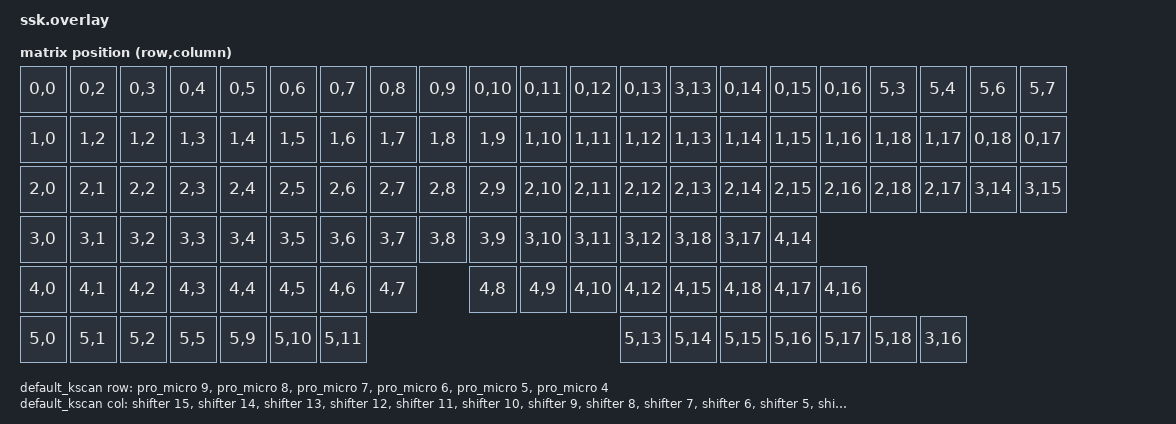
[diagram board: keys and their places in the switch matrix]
#include <dt-bindings/zmk/matrix_transform.h>

&pinctrl {
    spi0_default: spi0_default {
        group1 {
            psels = <NRF_PSEL(SPIM_SCK, 1, 13)>,
                <NRF_PSEL(SPIM_MOSI, 0, 10)>,
                <NRF_PSEL(SPIM_MISO, 1, 11)>;
        };
    };

    spi0_sleep: spi0_sleep {
        group1 {
            psels = <NRF_PSEL(SPIM_SCK, 1, 13)>,
                <NRF_PSEL(SPIM_MOSI, 0, 10)>,
                <NRF_PSEL(SPIM_MISO, 1, 11)>;
            low-power-enable;
        };
    };
};

&spi0 {
    status = "okay";
    cs-gpios = <&pro_micro 10 GPIO_ACTIVE_LOW>;
    pinctrl-0 = <&spi0_default>;
    pinctrl-1 = <&spi0_sleep>;
    pinctrl-names = "default", "sleep";
     
    shifter: 595@0 {
        compatible = "zmk,gpio-595";
        status = "okay";
        gpio-controller;
        spi-max-frequency = <200000>;
        reg = <0>;
        label = "4HC595";
        #gpio-cells = <2>;
        ngpios = <16>;
    };
};

/ {
    chosen {
        zmk,kscan = &default_kscan;     
        zmk,matrix_transform = &default_transform;               
    };

default_kscan: kscan {
        compatible = "zmk,kscan-gpio-matrix";
        label = "default_kscan";
        diode-direction = "col2row";

        row-gpios
            = <&pro_micro 9 (GPIO_ACTIVE_LOW | GPIO_PULL_UP)> //r0
            , <&pro_micro 8 (GPIO_ACTIVE_LOW | GPIO_PULL_UP)> //r1
            , <&pro_micro 7 (GPIO_ACTIVE_LOW | GPIO_PULL_UP)> //r2
            , <&pro_micro 6 (GPIO_ACTIVE_LOW | GPIO_PULL_UP)> //r3
            , <&pro_micro 5 (GPIO_ACTIVE_LOW | GPIO_PULL_UP)> //r4
            , <&pro_micro 4 (GPIO_ACTIVE_LOW | GPIO_PULL_UP)> //r5фaaa==hhgfxzzxc
            ;

        col-gpios
            = <&shifter 15 GPIO_ACTIVE_LOW> //c0
            , <&shifter 14 GPIO_ACTIVE_LOW> //c1
            , <&shifter 13 GPIO_ACTIVE_LOW> //c2
            , <&shifter 12 GPIO_ACTIVE_LOW> //c3
            , <&shifter 11 GPIO_ACTIVE_LOW> //c4
            , <&shifter 10 GPIO_ACTIVE_LOW> //c5
            , <&shifter 9 GPIO_ACTIVE_LOW> //c6
            , <&shifter 8 GPIO_ACTIVE_LOW> //c7
            , <&shifter 7 GPIO_ACTIVE_LOW> //c8
            , <&shifter 6 GPIO_ACTIVE_LOW> //c9
            , <&shifter 5 GPIO_ACTIVE_LOW> //c10
            , <&shifter 4 GPIO_ACTIVE_LOW> //c11
            , <&shifter 3 GPIO_ACTIVE_LOW> //c12
            , <&shifter 2 GPIO_ACTIVE_LOW> //c13
            , <&shifter 1 GPIO_ACTIVE_LOW> //c14
            , <&shifter 0 GPIO_ACTIVE_LOW> //c15
            , <&pro_micro 20 GPIO_ACTIVE_LOW> //c16               
            , <&pro_micro 18 GPIO_ACTIVE_LOW> //c17 // todo fix (swap)
            , <&pro_micro 19 GPIO_ACTIVE_LOW> //c18 // todo fix (swap)
            ;
    };

    default_transform: keymap_transform_0 {
        compatible = "zmk,matrix-transform";
        columns = <19>;
        rows = <6>;
//        map = <
//            RC(0,0)     /*none*/    RC(0,2)     RC(0,3)     RC(0,4)     RC(0,5)     RC(0,6)     RC(0,7)     RC(0,8)     RC(0,9)     RC(0,10)     RC(0,11)     RC(0,12)     RC(0,13)     RC(0,14)     RC(0,15)     RC(0,16)     RC(0,17)     RC(0,18)
//            RC(1,0)     RC(1,1)     RC(1,2)     RC(1,3)     RC(1,4)     RC(1,5)     RC(1,6)     RC(1,7)     RC(1,8)     RC(1,9)     RC(1,10)     RC(1,11)     RC(1,12)     RC(1,13)     RC(1,14)     RC(1,15)     RC(1,16)     RC(1,17)     RC(1,18)
//            RC(2,0)     RC(2,1)     RC(2,2)     RC(2,3)     RC(2,4)     RC(2,5)     RC(2,6)     RC(2,7)     RC(2,8)     RC(2,9)     RC(2,10)     RC(2,11)     RC(2,12)     RC(2,13)     RC(2,14)     RC(2,15)     RC(2,16)     RC(2,17)     RC(2,18)
//            RC(3,0)     RC(3,1)     RC(3,2)     RC(3,3)     RC(3,4)     RC(3,5)     RC(3,6)     RC(3,7)     RC(3,8)     RC(3,9)     RC(3,10)     RC(3,11)     RC(3,12)     /*none*/     RC(3,14)     RC(3,15)     RC(3,16)     RC(3,17)     RC(3,18)
//            RC(4,0)     RC(4,1)     RC(4,2)     RC(4,3)     RC(4,4)     RC(4,5)     RC(4,6)     RC(4,7)     RC(4,8)     RC(4,9)     RC(4,10)     /*none*/     RC(4,12)     /*none*/     RC(4,14)     RC(4,15)     RC(4,16)     RC(4,17)     RC(4,18)
//            RC(5,0)     RC(5,1)     RC(5,2)     /*none*/    /*none*/    RC(5,5)     /*none*/    /*none*/    /*none*/    RC(5,9)     RC(5,10)     RC(5,11)     /*none*/     RC(5,13)     RC(5,14)     RC(5,15)     RC(5,16)     RC(5,17)     RC(5,18)
//        >;
                

        /* JAMES DONKEY 619  */     
        map = <
       /*  |---------------|---------------|---------------|---------------|---------------|---------------|---------------|---------------|---------------|---------------|---------------|---------------|---------------|---------------|---------------|---------------|---------------|---------------|---------------|---------------|---------------|---------------|  */
       /*   &kp ESC                         &kp F1          &kp F2          &kp F3          &kp F4          &kp F5          &kp F6          &kp F7          &kp F8          &kp F9          &kp F10         &kp F11         &kp F12         &kp F13         &kp PSCRN       &kp SLCK        &kp PAUS        &kp C_AL_CALC   &uc LG(TAB)     &uc LG(LC(LEFT)) &uc LG(LC(RIGHT))*/
            RC(0,0)                         RC(0,2)         RC(0,3)         RC(0,4)         RC(0,5)         RC(0,6)         RC(0,7)         RC(0,8)         RC(0,9)         RC(0,10)        RC(0,11)        RC(0,12)        RC(0,13)        RC(3,13)        RC(0,14)        RC(0,15)        RC(0,16)        RC(5,3)         RC(5,4)         RC(5,6)         RC(5,7) 
       /*  |---------------|---------------|---------------|---------------|---------------|---------------|---------------|---------------|---------------|---------------|---------------|---------------|---------------|---------------|---------------|---------------|---------------|---------------|---------------|---------------|---------------|---------------|  */
       /*   &kp GRAVE       &kp N1          &kp N2          &kp N3          &kp N4          &kp N5          &kp N6          &kp N7          &kp N8          &kp N9          &kp N0          &kp MINUS       &kp EQUAL       &kp BSPC        &kp INS         &kp HOME        &kp PG_UP       &kp KP_NLCK     &kp KP_SLASH    &kp KP_ASTERISK &kp KP_MINUS                      */
            RC(1,0)         RC(1,2)         RC(1,2)         RC(1,3)         RC(1,4)         RC(1,5)         RC(1,6)         RC(1,7)         RC(1,8)         RC(1,9)         RC(1,10)        RC(1,11)        RC(1,12)        RC(1,13)        RC(1,14)        RC(1,15)        RC(1,16)        RC(1,18)        RC(1,17)        RC(0,18)        RC(0,17)
       /*  |---------------|---------------|---------------|---------------|---------------|---------------|---------------|---------------|---------------|---------------|---------------|---------------|---------------|---------------|---------------|---------------|---------------|---------------|---------------|---------------|---------------|---------------|  */
       /*   &kp TAB         &kp Q           &kp W           &kp E           &kp R           &kp T           &kp Y           &kp U           &kp I           &kp O           &kp P           &kp LBKT        &kp RBKT        &kp BSLH        &kp DEL         &kp END         &kp PG_DN       &kp KP_N7       &kp KP_N8       &kp KP_N9       &kp KP_PLUS                       */
            RC(2,0)         RC(2,1)         RC(2,2)         RC(2,3)         RC(2,4)         RC(2,5)         RC(2,6)         RC(2,7)         RC(2,8)         RC(2,9)         RC(2,10)        RC(2,11)        RC(2,12)        RC(2,13)        RC(2,14)        RC(2,15)        RC(2,16)        RC(2,18)        RC(2,17)        RC(3,14)        RC(3,15)                             
       /*  |---------------|---------------|---------------|---------------|---------------|---------------|---------------|---------------|---------------|---------------|---------------|---------------|---------------|---------------|---------------|---------------|---------------|---------------|---------------|---------------|---------------|---------------|  */
       /*   &kp CLCK        &kp A           &kp S           &kp D           &kp F           &kp G           &kp H           &kp J           &kp K           &kp L           &kp SEMI        &kp SQT         &kp RET                         &kp KP_N4       &kp KP_N5       &kp KP_N6                                                                                         */
            RC(3,0)         RC(3,1)         RC(3,2)         RC(3,3)         RC(3,4)         RC(3,5)         RC(3,6)         RC(3,7)         RC(3,8)         RC(3,9)         RC(3,10)        RC(3,11)        RC(3,12)                        RC(3,18)        RC(3,17)        RC(4,14)
       /*  |---------------|---------------|---------------|---------------|---------------|---------------|---------------|---------------|---------------|---------------|---------------|---------------|---------------|---------------|---------------|---------------|---------------|---------------|---------------|---------------|---------------|---------------|  */
       /*   &kp LSHFT       &kp Z           &kp X           &kp C           &kp V           &kp B           &kp N           &kp M           &kp COMMA       &kp DOT         &kp FSLH                        &kp RSHFT                       &kp UP          &kp KP_N1       &kp KP_N2       &kp KP_N3                                                                         */
            RC(4,0)         RC(4,1)         RC(4,2)         RC(4,3)         RC(4,4)         RC(4,5)         RC(4,6)         RC(4,7)         RC(4,8)         RC(4,9)         RC(4,10)                        RC(4,12)                        RC(4,15)        RC(4,18)        RC(4,17)        RC(4,16)        
       /*  |---------------|---------------|---------------|---------------|---------------|---------------|---------------|---------------|---------------|---------------|---------------|---------------|---------------|---------------|---------------|---------------|---------------|---------------|---------------|---------------|---------------|---------------|  */
       /*   &kp LCTRL       &kp LGUI        &kp LALT                                        &kp SPACE                                                       &kp RALT        &kp RGUI        &mo 3                           &kp RCTRL       &kp LEFT        &kp DOWN        &kp RIGHT       &kp KP_N0       &kp KP_DOT      &kp KP_ENTER                                      */
            RC(5,0)         RC(5,1)         RC(5,2)                                         RC(5,5)                                                         RC(5,9)         RC(5,10)        RC(5,11)                        RC(5,13)        RC(5,14)        RC(5,15)        RC(5,16)        RC(5,17)        RC(5,18)        RC(3,16)
       /*  |---------------|---------------|---------------|---------------|---------------|---------------|---------------|---------------|---------------|---------------|---------------|---------------|---------------|---------------|---------------|---------------|---------------|---------------|---------------|---------------|---------------|---------------|  */
       /*   */
       /*  &               &out OUT_BLE    &out OUT_24G    &out OUT_CHG    &out OUT_CHGD                                                                                                                                                                                                                                  */
       >;
    };     
};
